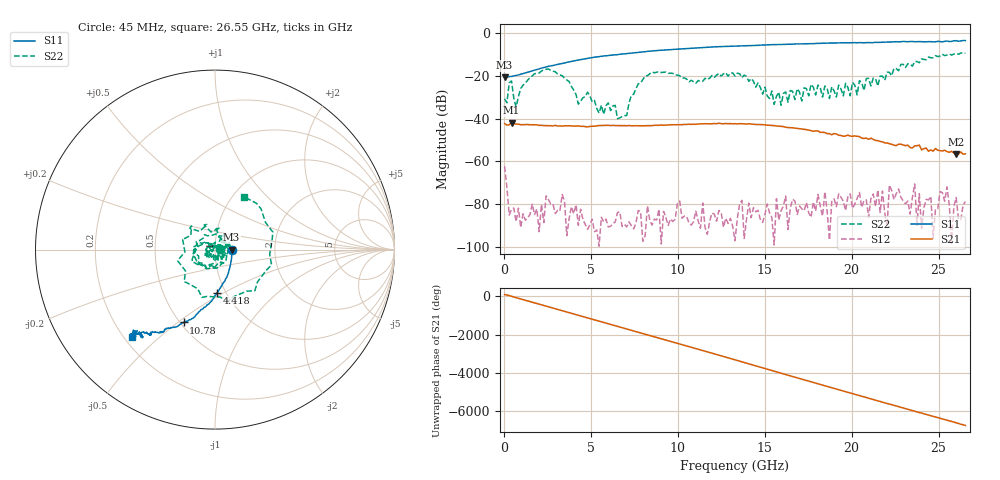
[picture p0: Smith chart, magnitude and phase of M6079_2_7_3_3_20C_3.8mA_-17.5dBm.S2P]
!  2-Port S-parameters saved by WinCal
! VAR MeasName=S-Parameters (CALIBRATED_DATA) read from VNA (C)
! VAR MeasDate=10/5/2015 6:44:26 PM
! VAR NAME=M6079_2_7_3_3_20C_3.8mA_-17.5dBm
! VAR FILENAME=M6079_2_7_3_3_20C_3.8mA_-17.5dBm.S2P
! VAR DATE=10/5/2015 6:44:26 PM
! VAR PHYS_PORTS=2,1
! VAR ObjTypeName=DATASET
! VAR IndexType=Frequency
# Hz S DB R 50
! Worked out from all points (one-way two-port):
!   201 points, 45 MHz to 26.55 GHz, reference 50 ohm
!   highest |S21| = -41.92 dB at 442.5 MHz (marker M1); lowest = -56.8 dB at 26.02 GHz (marker M2)
!   lowest |S11| = -20.7 dB at 45 MHz (marker M3), VSWR 1.20, Z = 60.1 - j0.116 ohm
!   |S11| at or under -10 dB: start of sweep to 6.582 GHz
!   |S22| runs from -40.1 to -9.2 dB; largest |S21 - S12| = 0.008
!   S11 on the Smith chart (normalised r, x): 45 MHz: 1.20, -0.00; 4.418 GHz: 0.91, -0.46; 10.78 GHz: 0.52, -0.53; 26.55 GHz: 0.23, -0.41
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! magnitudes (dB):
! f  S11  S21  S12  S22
! 45 MHz  -20.7  -42.4  -62.4  -30.8
! 442.5 MHz  -20.3  -41.9  -82.4  -22.4
! 707.5 MHz  -19.9  -42.6  -88.3  -34.6
! 1.105 GHz  -19.0  -42.9  -84.6  -24.4
! 2.562 GHz  -15.5  -43.3  -77.9  -16.8
! 4.418 GHz  -12.4  -43.7  -82.5  -31.8
! 4.55 GHz  -12.2  -43.6  -87.3  -30.3
! 6.537 GHz  -10.1  -43.3  -84.0  -40.1
! 8.922 GHz  -8.1  -43.2  -82.5  -18.0
! 10.78 GHz  -7.1  -42.7  -89.9  -22.1
! 13.29 GHz  -6.1  -42.4  -97.3  -20.1
! 15.55 GHz  -5.4  -43.3  -99.2  -33.4
! 17.8 GHz  -4.9  -46.0  -79.1  -25.3
! 20.32 GHz  -4.5  -48.3  -77.4  -28.9
! 20.45 GHz  -4.4  -48.4  -74.6  -22.2
! 22.04 GHz  -4.2  -51.5  -90.6  -18.3
! 22.17 GHz  -4.1  -51.8  -71.2  -18.4
! 23.1 GHz  -4.0  -52.7  -80.0  -16.1
! 23.63 GHz  -4.0  -52.8  -70.6  -13.2
! 23.76 GHz  -4.0  -52.7  -90.0  -13.3
! 26.02 GHz  -3.5  -56.8  -77.0  -9.4
! 26.55 GHz  -3.5  -56.5  -78.9  -9.5
